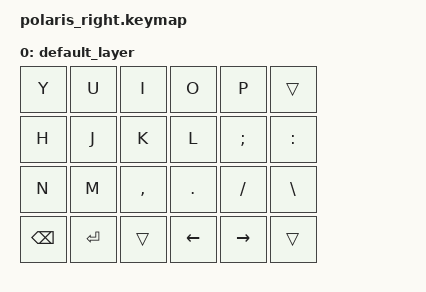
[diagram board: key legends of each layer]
#include <behaviors.dtsi>
#include <dt-bindings/zmk/keys.h>

/ {
    keymap {
        compatible = "zmk,keymap";

        default_layer {
            bindings = <
                /* Row 0 */
                &kp Y       &kp U       &kp I       &kp O       &kp P       &trans

                /* Row 1 */
                &kp H       &kp J       &kp K       &kp L       &kp SEMI    &kp COLON

                /* Row 2 */
                &kp N       &kp M       &kp COMMA   &kp DOT     &kp SLASH   &kp BSLH

                /* Row 3 */
                &kp BSPC    &kp ENTER    &trans      &kp LEFT    &kp RIGHT   &trans
            >;
        };
    };
};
